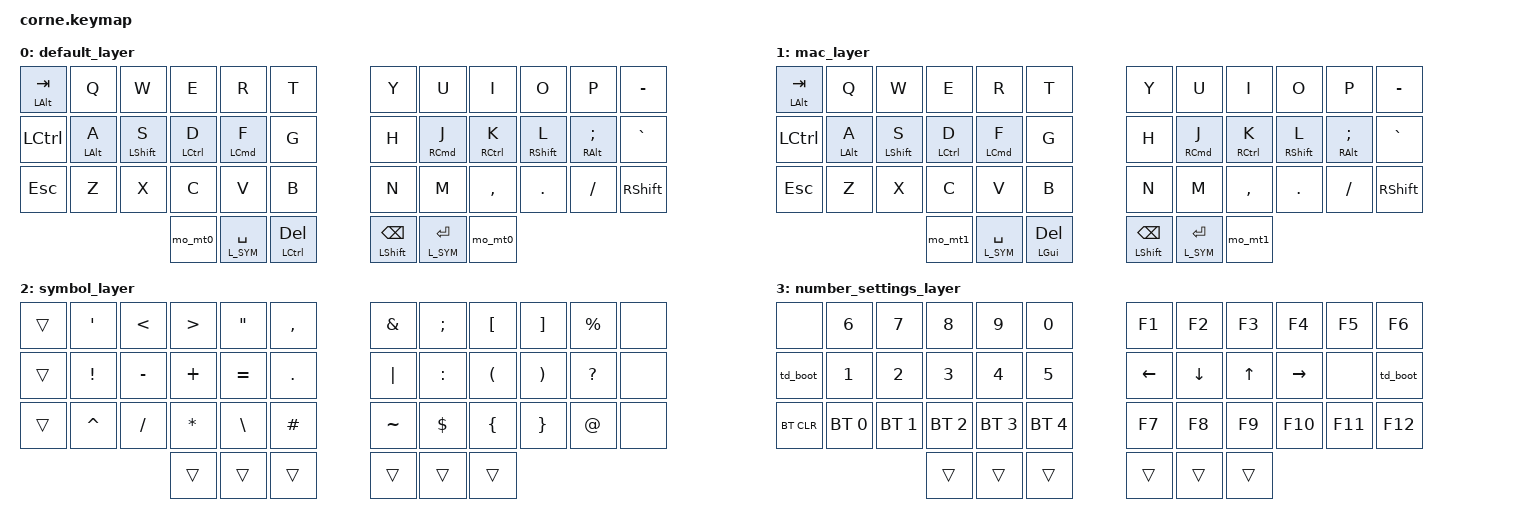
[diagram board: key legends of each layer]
/*
 * Copyright (c) 2020 The ZMK Contributors
 *
 * SPDX-License-Identifier: MIT
 */

#include <behaviors.dtsi>
#include <dt-bindings/zmk/bt.h>
#include <dt-bindings/zmk/keys.h>

#define L_DFLT_WIN 0
#define L_DFLT_MAC 1
#define L_SYM 2
#define L_SET 3

/ {
    behaviors {
        mo_mt0: mom_layer_mod_tap0 {
            compatible = "zmk,behavior-tap-dance";
            label = "MOMENTARY_LAYER_MOD_TAP0";
            #binding-cells = <0>;
            tapping-term-ms = <200>;
            bindings = <&mo L_SET>, <&to L_DFLT_MAC>;
        };

        mo_mt1: mom_layer_mod_tap1 {
            compatible = "zmk,behavior-tap-dance";
            label = "MOMENTARY_LAYER_MOD_TAP1";
            #binding-cells = <0>;
            tapping-term-ms = <200>;
            bindings = <&mo L_SET>, <&to L_DFLT_WIN>;
        };

        td_boot: tap_dance_bootloader {
            compatible = "zmk,behavior-tap-dance";
            label = "TAP_DANCE_BOOTLOADER";
            #binding-cells = <0>;
            tapping-term-ms = <300>;
            bindings = <&none>, <&bootloader>;
        };

        RHAND_HRM: RHAND_HRM {
            compatible = "zmk,behavior-hold-tap";
            label = "RHAND_HRM";
            bindings = <&kp>, <&kp>;

            #binding-cells = <2>;
            flavor = "balanced";
            require-prior-idle-ms = <150>;
            quick-tap-ms = <175>;
            tapping-term-ms = <280>;
            hold-trigger-key-positions = <0 1 2 3 4 5 12 13 14 15 16 17 24 25 26 27 28 29>;
            hold-trigger-on-release;
        };

        LHAND_HRM: LHAND_HRM {
            compatible = "zmk,behavior-hold-tap";
            label = "LHAND_HRM";
            bindings = <&kp>, <&kp>;

            #binding-cells = <2>;
            hold-trigger-key-positions = <6 7 8 9 10 11 18 19 20 21 22 23 30 31 32 33 34 35>;
            flavor = "balanced";
            hold-trigger-on-release;
            tapping-term-ms = <280>;
            quick-tap-ms = <175>;
            require-prior-idle-ms = <150>;
        };
    };

    keymap {
        compatible = "zmk,keymap";

        default_layer {
            bindings = <
&mt LALT TAB  &kp Q              &kp W                &kp E               &kp R              &kp T            &kp Y           &kp U              &kp I               &kp O                &kp P                           &kp MINUS
&kp LCTRL     &LHAND_HRM LALT A  &LHAND_HRM LSHIFT S  &LHAND_HRM LCTRL D  &LHAND_HRM LCMD F  &kp G            &kp H           &RHAND_HRM RCMD J  &RHAND_HRM RCTRL K  &RHAND_HRM RSHIFT L  &RHAND_HRM RIGHT_ALT SEMICOLON  &kp GRAVE
&kp ESC       &kp Z              &kp X                &kp C               &kp V              &kp B            &kp N           &kp M              &kp COMMA           &kp DOT              &kp FSLH                        &kp RSHFT
                                                      &mo_mt0             &lt L_SYM SPACE    &mt LCTRL DEL    &mt LSHFT BSPC  &lt L_SYM RET      &mo_mt0
            >;
        };

        mac_layer {
            bindings = <
&mt LALT TAB  &kp Q                  &kp W                &kp E               &kp R              &kp T           &kp Y           &kp U              &kp I               &kp O                &kp P                           &kp MINUS
&kp LCTRL     &LHAND_HRM LEFT_ALT A  &LHAND_HRM LSHIFT S  &LHAND_HRM LCTRL D  &LHAND_HRM LCMD F  &kp G           &kp H           &RHAND_HRM RCMD J  &RHAND_HRM RCTRL K  &RHAND_HRM RSHIFT L  &RHAND_HRM RIGHT_ALT SEMICOLON  &kp GRAVE
&kp ESC       &kp Z                  &kp X                &kp C               &kp V              &kp B           &kp N           &kp M              &kp COMMA           &kp DOT              &kp FSLH                        &kp RSHFT
                                                          &mo_mt1             &lt L_SYM SPACE    &mt LGUI DEL    &mt LSHFT BSPC  &lt L_SYM RET      &mo_mt1
            >;
        };

        symbol_layer {
            bindings = <
&trans  &kp SQT    &kp LT     &kp GT     &kp DQT    &kp COMMA    &kp AMPS   &kp SEMI    &kp LBKT  &kp RBKT  &kp PRCNT  &none
&trans  &kp EXCL   &kp MINUS  &kp PLUS   &kp EQUAL  &kp DOT      &kp PIPE   &kp COLON   &kp LPAR  &kp RPAR  &kp QMARK  &none
&trans  &kp CARET  &kp SLASH  &kp ASTRK  &kp BSLH   &kp HASH     &kp TILDE  &kp DOLLAR  &kp LBRC  &kp RBRC  &kp AT     &none
                              &trans     &trans     &trans       &trans     &trans      &trans
            >;
        };

        number_settings_layer {
            bindings = <
&none       &kp N6        &kp N7        &kp N8        &kp N9        &kp N0          &kp F1    &kp F2    &kp F3  &kp F4     &kp F5   &kp F6
&td_boot    &kp N1        &kp N2        &kp N3        &kp N4        &kp N5          &kp LEFT  &kp DOWN  &kp UP  &kp RIGHT  &none    &td_boot
&bt BT_CLR  &bt BT_SEL 0  &bt BT_SEL 1  &bt BT_SEL 2  &bt BT_SEL 3  &bt BT_SEL 4    &kp F7    &kp F8    &kp F9  &kp F10    &kp F11  &kp F12
                                        &trans        &trans        &trans          &trans    &trans    &trans
            >;
        };
    };
};

&nice_view_spi { cs-gpios = <&pro_micro 0 GPIO_ACTIVE_HIGH>; };
